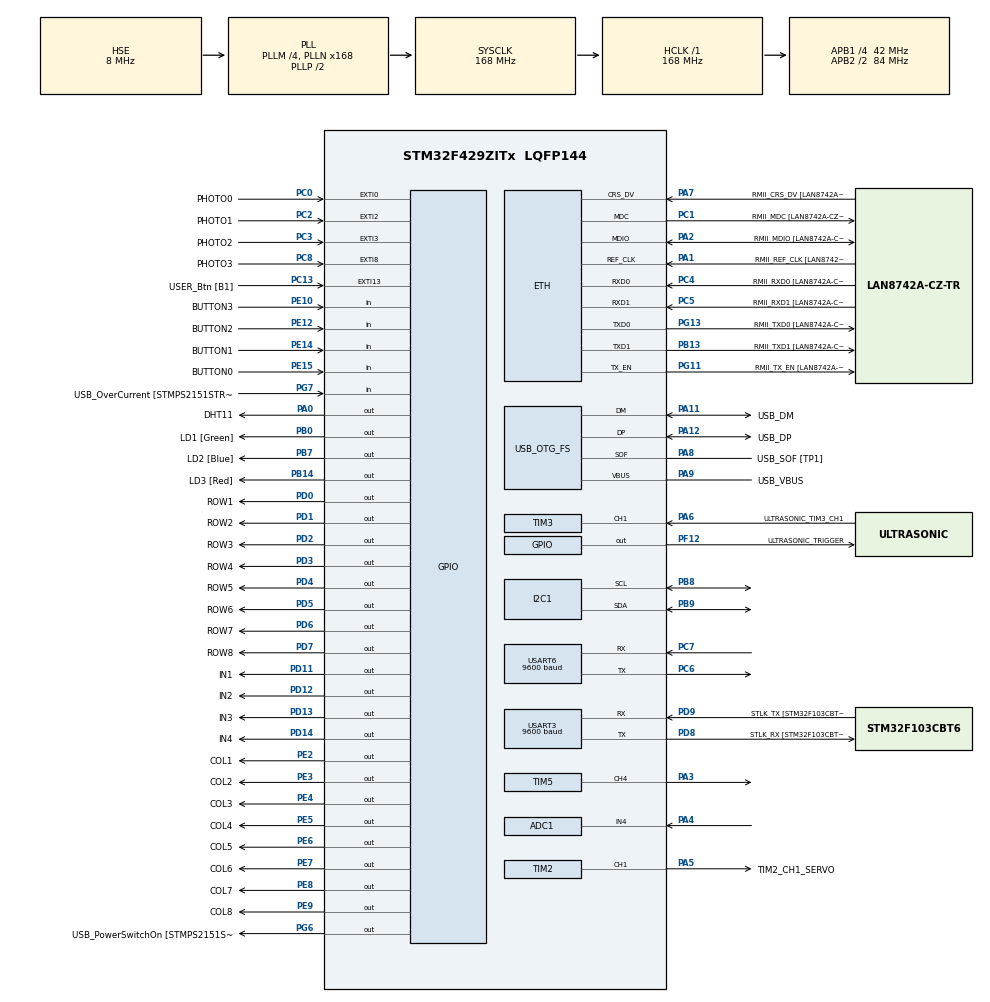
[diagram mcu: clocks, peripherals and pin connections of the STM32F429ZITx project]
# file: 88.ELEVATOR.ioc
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ADC1.Channel-0\#ChannelRegularConversion=ADC_CHANNEL_4
ADC1.ContinuousConvMode=ENABLE
ADC1.NbrOfConversionFlag=1
ADC1.Rank-0\#ChannelRegularConversion=1
ADC1.SamplingTime-0\#ChannelRegularConversion=ADC_SAMPLETIME_480CYCLES
ADC1.master=1
ETH.MediaInterface=HAL_ETH_RMII_MODE
FREERTOS.Mutexes01=myMutex01,Dynamic,NULL
FREERTOS.Tasks01=defaultTask,24,128,StartDefaultTask,Default,NULL,Dynamic,NULL,NULL;Task1,8,128,Task1_func,Default,NULL,Dynamic,NULL,NULL;Task2,8,128,Task2_func,Default,NULL,Dynamic,NULL,NULL;Task3,8,128,Task3_func,Default,NULL,Dynamic,NULL,NULL
FREERTOS.configUSE_NEWLIB_REENTRANT=1
Mcu.Family=STM32F4
Mcu.Name=STM32F429ZITx
Mcu.Package=LQFP144
NVIC.ADC_IRQn=true\:5\:0\:false\:false\:true\:true\:true\:true\:true
NVIC.EXTI0_IRQn=true\:5\:0\:false\:false\:true\:true\:true\:true\:true
NVIC.EXTI2_IRQn=true\:5\:0\:false\:false\:true\:true\:true\:true\:true
NVIC.EXTI3_IRQn=true\:5\:0\:false\:false\:true\:true\:true\:true\:true
NVIC.PriorityGroup=NVIC_PRIORITYGROUP_4
NVIC.TIM1_TRG_COM_TIM11_IRQn=true\:5\:0\:false\:false\:true\:true\:true\:true\:true
NVIC.TIM1_UP_TIM10_IRQn=true\:5\:0\:false\:false\:true\:true\:true\:true\:true
NVIC.TIM2_IRQn=true\:5\:0\:false\:false\:true\:true\:true\:true\:true
NVIC.TIM3_IRQn=true\:5\:0\:false\:false\:true\:true\:true\:true\:true
NVIC.TIM4_IRQn=true\:5\:0\:false\:false\:true\:true\:true\:true\:true
NVIC.TIM5_IRQn=true\:5\:0\:false\:false\:true\:true\:true\:true\:true
NVIC.TIM6_DAC_IRQn=true\:15\:0\:false\:false\:true\:false\:false\:true\:true
NVIC.TimeBase=TIM6_DAC_IRQn
NVIC.TimeBaseIP=TIM6
NVIC.USART3_IRQn=true\:5\:0\:false\:false\:true\:true\:true\:true\:true
NVIC.USART6_IRQn=true\:5\:0\:false\:false\:true\:true\:true\:true\:true
PA0/WKUP.GPIO_Label=DHT11
PA0/WKUP.Signal=GPIO_Output
PA1.GPIO_Label=RMII_REF_CLK [LAN8742A-CZ-TR_REFCLK0]
PA1.Mode=RMII
PA1.Signal=ETH_REF_CLK
PA10.GPIO_Label=USB_ID
PA10.Signal=USB_OTG_FS_ID
PA11.GPIO_Label=USB_DM
PA11.Mode=Device_Only
PA11.Signal=USB_OTG_FS_DM
PA12.GPIO_Label=USB_DP
PA12.Mode=Device_Only
PA12.Signal=USB_OTG_FS_DP
PA13.GPIO_Label=TMS
PA13.Mode=Serial_Wire
PA13.Signal=SYS_JTMS-SWDIO
PA14.GPIO_Label=TCK
PA14.Mode=Serial_Wire
PA14.Signal=SYS_JTCK-SWCLK
PA2.GPIO_Label=RMII_MDIO [LAN8742A-CZ-TR_MDIO]
PA2.Mode=RMII
PA2.Signal=ETH_MDIO
PA3.Signal=S_TIM5_CH4
PA4.Signal=ADCx_IN4
PA5.GPIO_Label=TIM2_CH1_SERVO
PA5.Signal=S_TIM2_CH1_ETR
PA6.GPIO_Label=ULTRASONIC_TIM3_CH1
PA6.Signal=S_TIM3_CH1
PA7.GPIO_Label=RMII_CRS_DV [LAN8742A-CZ-TR_CRS_DV]
PA7.Mode=RMII
PA7.Signal=ETH_CRS_DV
PA8.GPIO_Label=USB_SOF [TP1]
PA8.Mode=Activate_SOF_FS
PA8.Signal=USB_OTG_FS_SOF
PA9.GPIO_Label=USB_VBUS
PA9.Mode=Activate_VBUS
PA9.Signal=USB_OTG_FS_VBUS
PB0.GPIO_Label=LD1 [Green]
PB0.Signal=GPIO_Output
PB13.GPIO_Label=RMII_TXD1 [LAN8742A-CZ-TR_TXD1]
PB13.Mode=RMII
PB13.Signal=ETH_TXD1
PB14.GPIO_Label=LD3 [Red]
PB14.Signal=GPIO_Output
PB7.GPIO_Label=LD2 [Blue]
PB7.Signal=GPIO_Output
PB8.Mode=I2C
PB8.Signal=I2C1_SCL
PB9.Mode=I2C
PB9.Signal=I2C1_SDA
PC0.GPIO_Label=PHOTO0
PC0.Signal=GPXTI0
PC1.GPIO_Label=RMII_MDC [LAN8742A-CZ-TR_MDC]
PC1.Mode=RMII
PC1.Signal=ETH_MDC
PC13.GPIO_Label=USER_Btn [B1]
PC13.Signal=GPXTI13
PC14/OSC32_IN.Mode=LSE-External-Oscillator
PC14/OSC32_IN.Signal=RCC_OSC32_IN
PC15/OSC32_OUT.Mode=LSE-External-Oscillator
PC15/OSC32_OUT.Signal=RCC_OSC32_OUT
PC2.GPIO_Label=PHOTO1
PC2.Signal=GPXTI2
PC3.GPIO_Label=PHOTO2
PC3.Signal=GPXTI3
PC4.GPIO_Label=RMII_RXD0 [LAN8742A-CZ-TR_RXD0]
PC4.Mode=RMII
PC4.Signal=ETH_RXD0
PC5.GPIO_Label=RMII_RXD1 [LAN8742A-CZ-TR_RXD1]
PC5.Mode=RMII
PC5.Signal=ETH_RXD1
PC6.Mode=Asynchronous
PC6.Signal=USART6_TX
PC7.Mode=Asynchronous
PC7.Signal=USART6_RX
PC8.GPIO_Label=PHOTO3
PC8.Signal=GPXTI8
PD0.GPIO_Label=ROW1
PD0.Signal=GPIO_Output
PD1.GPIO_Label=ROW2
PD1.Signal=GPIO_Output
PD11.GPIO_Label=IN1
PD11.Signal=GPIO_Output
PD12.GPIO_Label=IN2
PD12.Signal=GPIO_Output
PD13.GPIO_Label=IN3
PD13.Signal=GPIO_Output
PD14.GPIO_Label=IN4
PD14.Signal=GPIO_Output
PD2.GPIO_Label=ROW3
PD2.Signal=GPIO_Output
PD3.GPIO_Label=ROW4
PD3.Signal=GPIO_Output
PD4.GPIO_Label=ROW5
PD4.Signal=GPIO_Output
PD5.GPIO_Label=ROW6
PD5.Signal=GPIO_Output
PD6.GPIO_Label=ROW7
PD6.Signal=GPIO_Output
PD7.GPIO_Label=ROW8
PD7.Signal=GPIO_Output
PD8.GPIO_Label=STLK_RX [STM32F103CBT6_PA3]
PD8.Mode=Asynchronous
PD8.Signal=USART3_TX
PD9.GPIO_Label=STLK_TX [STM32F103CBT6_PA2]
PD9.Mode=Asynchronous
PD9.Signal=USART3_RX
PE10.GPIO_Label=BUTTON3
PE10.Signal=GPIO_Input
PE12.GPIO_Label=BUTTON2
PE12.Signal=GPIO_Input
PE14.GPIO_Label=BUTTON1
PE14.Signal=GPIO_Input
PE15.GPIO_Label=BUTTON0
PE15.Signal=GPIO_Input
PE2.GPIO_Label=COL1
PE2.Signal=GPIO_Output
PE3.GPIO_Label=COL2
PE3.Signal=GPIO_Output
PE4.GPIO_Label=COL3
PE4.Signal=GPIO_Output
PE5.GPIO_Label=COL4
PE5.Signal=GPIO_Output
PE6.GPIO_Label=COL5
PE6.Signal=GPIO_Output
PE7.GPIO_Label=COL6
PE7.Signal=GPIO_Output
PE8.GPIO_Label=COL7
PE8.Signal=GPIO_Output
PE9.GPIO_Label=COL8
PE9.Signal=GPIO_Output
PF12.GPIO_Label=ULTRASONIC_TRIGGER
PF12.Signal=GPIO_Output
PG11.GPIO_Label=RMII_TX_EN [LAN8742A-CZ-TR_TXEN]
PG11.Mode=RMII
PG11.Signal=ETH_TX_EN
PG13.GPIO_Label=RMII_TXD0 [LAN8742A-CZ-TR_TXD0]
PG13.Mode=RMII
PG13.Signal=ETH_TXD0
PG6.GPIO_Label=USB_PowerSwitchOn [STMPS2151STR_EN]
PG6.Signal=GPIO_Output
PG7.GPIO_Label=USB_OverCurrent [STMPS2151STR_FAULT]
PG7.Signal=GPIO_Input
PH0/OSC_IN.GPIO_Label=MCO [STM32F103CBT6_PA8]
PH0/OSC_IN.Mode=HSE-External-Clock-Source
PH0/OSC_IN.Signal=RCC_OSC_IN
PH1/OSC_OUT.Mode=HSE-External-Clock-Source
PH1/OSC_OUT.Signal=RCC_OSC_OUT
ProjectManager.HeapSize=0x200
ProjectManager.StackSize=0x400
ProjectManager.TargetToolchain=STM32CubeIDE
RCC.48MHZClocksFreq_Value=48000000
RCC.AHBFreq_Value=168000000
RCC.APB1CLKDivider=RCC_HCLK_DIV4
RCC.APB1Freq_Value=42000000
RCC.APB1TimFreq_Value=84000000
RCC.APB2CLKDivider=RCC_HCLK_DIV2
RCC.APB2Freq_Value=84000000
RCC.APB2TimCLKDivider=2
RCC.APB2TimFreq_Value=168000000
RCC.CortexFreq_Value=168000000
RCC.HCLKFreq_Value=168000000
RCC.HSE_VALUE=8000000
RCC.HSI_VALUE=16000000
RCC.PLLM=4
RCC.PLLMUL=RCC_PLL_MUL9
RCC.PLLN=168
RCC.PLLQ=7
RCC.PRESCALERUSB=RCC_USBCLKSOURCE_PLL_DIV1_5
RCC.SYSCLKFreq_VALUE=168000000
RCC.SYSCLKSource=RCC_SYSCLKSOURCE_PLLCLK
RCC.SYSCLKSourceVirtual=RCC_SYSCLKSOURCE_PLLCLK
RCC.USBFreq_Value=48000000
RCC.VCOOutputFreq_Value=336000000
RTC.Date=16
RTC.Hours=9
RTC.Minutes=38
RTC.Month=RTC_MONTH_OCTOBER
RTC.Year=23
SH.ADCx_IN4.0=ADC1_IN4,IN4
SH.S_TIM2_CH1_ETR.0=TIM2_CH1,PWM Generation1 CH1
SH.S_TIM3_CH1.0=TIM3_CH1,Input_Capture1_from_TI1
SH.S_TIM5_CH4.0=TIM5_CH4,PWM Generation4 CH4
TIM10.Period=10000-1
TIM10.Prescaler=168-1
TIM11.Prescaler=168-1
TIM2.Channel-PWM\ Generation1\ CH1=TIM_CHANNEL_1
TIM2.Period=1000-1
TIM2.Prescaler=1680-1
TIM2.Pulse-PWM\ Generation1\ CH1=500-1
TIM3.Channel-Input_Capture1_from_TI1=TIM_CHANNEL_1
TIM3.ICPolarity_CH1=TIM_INPUTCHANNELPOLARITY_BOTHEDGE
TIM3.Prescaler=84-1
TIM4.Period=100-1
TIM4.Prescaler=840-1
TIM5.Channel-PWM\ Generation4\ CH4=TIM_CHANNEL_4
TIM5.Period=400-1
TIM5.Prescaler=52.5-1
TIM5.Pulse-PWM\ Generation4\ CH4=200-1
USART3.BaudRate=9600
USART3.VirtualMode=VM_ASYNC
USART6.BaudRate=9600
USART6.VirtualMode=VM_ASYNC
USB_OTG_FS.VirtualMode=Device_Only
VP_FREERTOS_VS_CMSIS_V2.Mode=CMSIS_V2
VP_RTC_VS_RTC_Activate.Mode=RTC_Enabled
VP_RTC_VS_RTC_Calendar.Mode=RTC_Calendar
VP_SYS_VS_tim6.Mode=TIM6
VP_TIM10_VS_ClockSourceINT.Mode=Enable_Timer
VP_TIM11_VS_ClockSourceINT.Mode=Enable_Timer
VP_TIM4_VS_ClockSourceINT.Mode=Internal
VP_TIM5_VS_ClockSourceINT.Mode=Internal
board=NUCLEO-F429ZI

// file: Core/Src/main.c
/* USER CODE BEGIN Header */
/**
  ******************************************************************************
  * @file           : main.c
  * @brief          : Main program body
  ******************************************************************************
  * @attention
  *
  * Copyright (c) 2023 STMicroelectronics.
  * All rights reserved.
  *
  * This software is licensed under terms that can be found in the LICENSE file
  * in the root directory of this software component.
  * If no LICENSE file comes with this software, it is provided AS-IS.
  *
  ******************************************************************************
  */
/* USER CODE END Header */
#include "main.h"
#include "string.h"
#include "cmsis_os.h"

ETH_TxPacketConfig TxConfig;
ETH_DMADescTypeDef  DMARxDscrTab[ETH_RX_DESC_CNT]; /* Ethernet Rx DMA Descriptors */
ETH_DMADescTypeDef  DMATxDscrTab[ETH_TX_DESC_CNT]; /* Ethernet Tx DMA Descriptors */

ADC_HandleTypeDef hadc1;

ETH_HandleTypeDef heth;

I2C_HandleTypeDef hi2c1;

RTC_HandleTypeDef hrtc;

TIM_HandleTypeDef htim2;
TIM_HandleTypeDef htim3;
TIM_HandleTypeDef htim4;
TIM_HandleTypeDef htim5;
TIM_HandleTypeDef htim10;
TIM_HandleTypeDef htim11;

UART_HandleTypeDef huart3;
UART_HandleTypeDef huart6;

PCD_HandleTypeDef hpcd_USB_OTG_FS;

/* Definitions for defaultTask */
osThreadId_t defaultTaskHandle;
const osThreadAttr_t defaultTask_attributes = {
  .name = "defaultTask",
  .stack_size = 128 * 4,
  .priority = (osPriority_t) osPriorityNormal,
};
/* Definitions for Task1 */
osThreadId_t Task1Handle;
const osThreadAttr_t Task1_attributes = {
  .name = "Task1",
  .stack_size = 128 * 4,
  .priority = (osPriority_t) osPriorityLow,
};
/* Definitions for Task2 */
osThreadId_t Task2Handle;
const osThreadAttr_t Task2_attributes = {
  .name = "Task2",
  .stack_size = 128 * 4,
  .priority = (osPriority_t) osPriorityLow,
};
/* Definitions for Task3 */
osThreadId_t Task3Handle;
const osThreadAttr_t Task3_attributes = {
  .name = "Task3",
  .stack_size = 128 * 4,
  .priority = (osPriority_t) osPriorityLow,
};
/* Definitions for myMutex01 */
osMutexId_t myMutex01Handle;
const osMutexAttr_t myMutex01_attributes = {
  .name = "myMutex01"
};
/* USER CODE BEGIN PV */
uint8_t rx_data;   // uart3 rx data
uint8_t bt_rx_data;   // uart6 bt rx data
volatile int TIM10_10ms_counter=0;
volatile int TIM10_10ms_ultrasonic=0;
/* USER CODE END PV */

void SystemClock_Config(void);
static void MX_GPIO_Init(void);
static void MX_USART3_UART_Init(void);
static void MX_USB_OTG_FS_PCD_Init(void);
static void MX_USART6_UART_Init(void);
static void MX_TIM10_Init(void);
static void MX_TIM11_Init(void);
static void MX_TIM3_Init(void);
static void MX_TIM4_Init(void);
static void MX_TIM2_Init(void);
static void MX_RTC_Init(void);
static void MX_TIM5_Init(void);
static void MX_I2C1_Init(void);
static void MX_ADC1_Init(void);
static void MX_ETH_Init(void);
void StartDefaultTask(void *argument);
void Task1_func(void *argument);
void Task2_func(void *argument);
void Task3_func(void *argument);

/* USER CODE BEGIN PFP */
extern void led_main(void);
extern void pc_command_processing(void);
extern void bt_command_processing(void);
extern void DHT11_main(void);
extern void DHT11_Init(void);
extern void DHT11_processing(void);
extern void ultrasonic_processing(void);
extern void i2c_lcd_main(void);
extern void i2c_lcd_init(void);
extern void lcd_string(uint8_t *str);
extern void move_cursor(uint8_t row, uint8_t column);
extern void dcmotor_pwm_control(void);
extern void servo_motor_test_main(void);
extern void get_rtc(void);
extern void lcd_display_mode_select(void);
extern void set_time_button_ui(void);
extern void buzzer_main();
extern void init_dotmatrix(void);
extern int dotmatrix_main_test(void);
extern void stepmotor_main_test(void);

extern int current_floor;

void delay_us(unsigned long us);
/* USER CODE END PFP */

/* USER CODE BEGIN 0 */
//---------------
// call by SysTick_Handler of stm32f4xx_it.c
// ARM default timer
// enter here every 1ms
volatile int t1ms_counter=0;  // volatile : for disable optimize
void HAL_SYSTICK_Handler(void)
{
	t1ms_counter++;   // 1ms timer
}
//----------  printf start ----------
#ifdef __GNUC__
/* With GCC, small printf (option LD Linker->Libraries->Small printf
   set to 'Yes') calls __io_putchar() */
#define PUTCHAR_PROTOTYPE int __io_putchar(int ch)
#else
#define PUTCHAR_PROTOTYPE int fputc(int ch, FILE *f)
#endif /* __GNUC_ */
/**
  * @brief  Retargets the C library printf function to the USART.
  * @param  None
  * @retval None
  */
PUTCHAR_PROTOTYPE   // Add for printf
{
  /* Place your implementation of fputc here */
  /* e.g. write a character to the USART3 and Loop until the end of transmission */
  HAL_UART_Transmit(&huart3, (uint8_t *)&ch, 1, 0xFFFF);

  return ch;
}
//----------  printf end ----------

// move from Driver/STM32F4xx_HAL_Driver/stm32f4xx_hal_tim.c to here
// enter here when every timer INT occurs

/*
void HAL_TIM_PeriodElapsedCallback(TIM_HandleTypeDef *htim)
{

}
*/

void delay_us(unsigned long us)
{
	__HAL_TIM_SET_COUNTER(&htim11,0);   // tim11 clear
	while(__HAL_TIM_GET_COUNTER(&htim11) < us)
		;
}

// 1. move from Driver/STM32F4xx_HAL_Driver/Src/stm32f4xx_hal_gpio.c/HAL_GPIO_EXTI_Callback(uint16_t):void
// 2. enter here every external interrupt
volatile int ext_int_no = -1;
void HAL_GPIO_EXTI_Callback(uint16_t GPIO_Pin)
{
  switch(GPIO_Pin)
  {
  case PHOTO0_Pin:
	  ext_int_no=GPIO_Pin;
	  HAL_GPIO_TogglePin(GPIOB, GPIO_PIN_0);   // LED1
 	  current_floor = 1;
	  break;
  case PHOTO1_Pin:
	  ext_int_no=GPIO_Pin;
	  HAL_GPIO_TogglePin(GPIOB, GPIO_PIN_7);   // LED2
	  current_floor = 2;
	  break;
  case PHOTO2_Pin:
	  ext_int_no=GPIO_Pin;
	  HAL_GPIO_TogglePin(GPIOB, GPIO_PIN_14);   // LED3
	  current_floor = 3;
	  break;
  case PHOTO3_Pin:
	  ext_int_no=GPIO_Pin;
	  HAL_GPIO_TogglePin(GPIOB, GPIO_PIN_0);
	  current_floor = 4;
	  break;
  }
}

uint16_t adcValue[4];
void HAL_ADC_ConvCpltCallback(ADC_HandleTypeDef* hadc)
{
	if (hadc->Instance == ADC1)    // ?��?�� 쪽의 ?��?��?��?��?���???�??? 체크
	{
		adcValue[0] = HAL_ADC_GetValue(&hadc1);
		HAL_ADC_Start_IT(&hadc1);
	}
}

/* USER CODE END 0 */

int main(void)
{

  /* MCU Configuration--------------------------------------------------------*/

  /* Reset of all peripherals, Initializes the Flash interface and the Systick. */
  HAL_Init();

  /* Configure the system clock */
  SystemClock_Config();

  /* Initialize all configured peripherals */
  MX_GPIO_Init();
  MX_USART3_UART_Init();
  MX_USB_OTG_FS_PCD_Init();
  MX_USART6_UART_Init();
  MX_TIM10_Init();
  MX_TIM11_Init();
  MX_TIM3_Init();
  MX_TIM4_Init();
  MX_TIM2_Init();
  MX_RTC_Init();
  MX_TIM5_Init();
  MX_I2C1_Init();
  MX_ADC1_Init();
  MX_ETH_Init();
  /* USER CODE BEGIN 2 */
  HAL_UART_Receive_IT(&huart3, &rx_data, 1);   // assing to RX INT
  HAL_UART_Receive_IT(&huart6, &bt_rx_data, 1);   // for BT assing to RX INT
  HAL_TIM_Base_Start_IT(&htim10);   // ADD_SIKWON_1011
  HAL_TIM_Base_Start_IT(&htim11);   // ADD_SIKWON_1011
  HAL_TIM_IC_Start_IT(&htim3, TIM_CHANNEL_1);   // for count pulse(rising edge & falling edge)
  HAL_TIM_PWM_Start_IT(&htim4, TIM_CHANNEL_1);  // for DC motor PWM control
  HAL_TIM_PWM_Start(&htim2, TIM_CHANNEL_1);   // for SERVO motor PWM control
  HAL_TIM_PWM_Start(&htim5, TIM_CHANNEL_4);   // PIEZO Buzzer

  HAL_ADC_Start_IT(&hadc1);
//  DHT11_Init();

//  i2c_lcd_init();    // lcd 모듈?�� ?��결된 ?��?��?��?�� ?��?�� ?��?��.

  init_dotmatrix();

  TIM10_10ms_counter=0;

// stepmotor_main_test();
// dotmatrix_main_test();
// led_main();			//REMOVE//
//  DHT11_main();
//  i2c_lcd_main();
//  servo_motor_test_main();
//    buzzer_main();

  /* USER CODE END 2 */

  /* Init scheduler */
  osKernelInitialize();
  /* Create the mutex(es) */
  /* creation of myMutex01 */
  myMutex01Handle = osMutexNew(&myMutex01_attributes);

  /* Create the thread(s) */
  /* creation of defaultTask */
  defaultTaskHandle = osThreadNew(StartDefaultTask, NULL, &defaultTask_attributes);

  /* creation of Task1 */
  Task1Handle = osThreadNew(Task1_func, NULL, &Task1_attributes);

  /* creation of Task2 */
  Task2Handle = osThreadNew(Task2_func, NULL, &Task2_attributes);

  /* creation of Task3 */
  Task3Handle = osThreadNew(Task3_func, NULL, &Task3_attributes);

  /* Start scheduler */
  osKernelStart();
  /* We should never get here as control is now taken by the scheduler */
  /* Infinite loop */
  /* USER CODE BEGIN WHILE */
  while (1)
  {
	  // test sensor
//	  printf("cds sensor: %d\n", adcValue[0]);
//	  HAL_Delay(10);
/*
	DHT11_processing();
 	pc_command_processing();
 	bt_command_processing();
 	ultrasonic_processing();
 	dcmotor_pwm_control();
 	get_rtc();
 	lcd_display_mode_select();
 	set_time_button_ui();
*/
    /* USER CODE END WHILE */

  }
}

void SystemClock_Config(void)
{
  RCC_OscInitTypeDef RCC_OscInitStruct = {0};
  RCC_ClkInitTypeDef RCC_ClkInitStruct = {0};

  /** Configure the main internal regulator output voltage
  */
  __HAL_RCC_PWR_CLK_ENABLE();
  __HAL_PWR_VOLTAGESCALING_CONFIG(PWR_REGULATOR_VOLTAGE_SCALE1);

  /** Initializes the RCC Oscillators according to the specified parameters
  * in the RCC_OscInitTypeDef structure.
  */
  RCC_OscInitStruct.OscillatorType = RCC_OSCILLATORTYPE_LSI|RCC_OSCILLATORTYPE_HSE;
  RCC_OscInitStruct.HSEState = RCC_HSE_BYPASS;
  RCC_OscInitStruct.LSIState = RCC_LSI_ON;
  RCC_OscInitStruct.PLL.PLLState = RCC_PLL_ON;
  RCC_OscInitStruct.PLL.PLLSource = RCC_PLLSOURCE_HSE;
  RCC_OscInitStruct.PLL.PLLM = 4;
  RCC_OscInitStruct.PLL.PLLN = 168;
  RCC_OscInitStruct.PLL.PLLP = RCC_PLLP_DIV2;
  RCC_OscInitStruct.PLL.PLLQ = 7;
  if (HAL_RCC_OscConfig(&RCC_OscInitStruct) != HAL_OK)
  {
    Error_Handler();
  }

  /** Initializes the CPU, AHB and APB buses clocks
  */
  RCC_ClkInitStruct.ClockType = RCC_CLOCKTYPE_HCLK|RCC_CLOCKTYPE_SYSCLK
                              |RCC_CLOCKTYPE_PCLK1|RCC_CLOCKTYPE_PCLK2;
  RCC_ClkInitStruct.SYSCLKSource = RCC_SYSCLKSOURCE_PLLCLK;
  RCC_ClkInitStruct.AHBCLKDivider = RCC_SYSCLK_DIV1;
  RCC_ClkInitStruct.APB1CLKDivider = RCC_HCLK_DIV4;
  RCC_ClkInitStruct.APB2CLKDivider = RCC_HCLK_DIV2;

  if (HAL_RCC_ClockConfig(&RCC_ClkInitStruct, FLASH_LATENCY_5) != HAL_OK)
  {
    Error_Handler();
  }
}

static void MX_ADC1_Init(void)
{

  ADC_ChannelConfTypeDef sConfig = {0};

  /** Configure the global features of the ADC (Clock, Resolution, Data Alignment and number of conversion)
  */
  hadc1.Instance = ADC1;
  hadc1.Init.ClockPrescaler = ADC_CLOCK_SYNC_PCLK_DIV4;
  hadc1.Init.Resolution = ADC_RESOLUTION_12B;
  hadc1.Init.ScanConvMode = DISABLE;
  hadc1.Init.ContinuousConvMode = ENABLE;
  hadc1.Init.DiscontinuousConvMode = DISABLE;
  hadc1.Init.ExternalTrigConvEdge = ADC_EXTERNALTRIGCONVEDGE_NONE;
  hadc1.Init.ExternalTrigConv = ADC_SOFTWARE_START;
  hadc1.Init.DataAlign = ADC_DATAALIGN_RIGHT;
  hadc1.Init.NbrOfConversion = 1;
  hadc1.Init.DMAContinuousRequests = DISABLE;
  hadc1.Init.EOCSelection = ADC_EOC_SINGLE_CONV;
  if (HAL_ADC_Init(&hadc1) != HAL_OK)
  {
    Error_Handler();
  }

  /** Configure for the selected ADC regular channel its corresponding rank in the sequencer and its sample time.
  */
  sConfig.Channel = ADC_CHANNEL_4;
  sConfig.Rank = 1;
  sConfig.SamplingTime = ADC_SAMPLETIME_480CYCLES;
  if (HAL_ADC_ConfigChannel(&hadc1, &sConfig) != HAL_OK)
  {
    Error_Handler();
  }

}

static void MX_ETH_Init(void)
{

   static uint8_t MACAddr[6];

  heth.Instance = ETH;
  MACAddr[0] = 0x00;
  MACAddr[1] = 0x80;
  MACAddr[2] = 0xE1;
  MACAddr[3] = 0x00;
  MACAddr[4] = 0x00;
  MACAddr[5] = 0x00;
  heth.Init.MACAddr = &MACAddr[0];
  heth.Init.MediaInterface = HAL_ETH_RMII_MODE;
  heth.Init.TxDesc = DMATxDscrTab;
  heth.Init.RxDesc = DMARxDscrTab;
  heth.Init.RxBuffLen = 1524;

  if (HAL_ETH_Init(&heth) != HAL_OK)
  {
    Error_Handler();
  }

  memset(&TxConfig, 0 , sizeof(ETH_TxPacketConfig));
  TxConfig.Attributes = ETH_TX_PACKETS_FEATURES_CSUM | ETH_TX_PACKETS_FEATURES_CRCPAD;
  TxConfig.ChecksumCtrl = ETH_CHECKSUM_IPHDR_PAYLOAD_INSERT_PHDR_CALC;
  TxConfig.CRCPadCtrl = ETH_CRC_PAD_INSERT;

}

static void MX_I2C1_Init(void)
{

  hi2c1.Instance = I2C1;
  hi2c1.Init.ClockSpeed = 100000;
  hi2c1.Init.DutyCycle = I2C_DUTYCYCLE_2;
  hi2c1.Init.OwnAddress1 = 0;
  hi2c1.Init.AddressingMode = I2C_ADDRESSINGMODE_7BIT;
  hi2c1.Init.DualAddressMode = I2C_DUALADDRESS_DISABLE;
  hi2c1.Init.OwnAddress2 = 0;
  hi2c1.Init.GeneralCallMode = I2C_GENERALCALL_DISABLE;
  hi2c1.Init.NoStretchMode = I2C_NOSTRETCH_DISABLE;
  if (HAL_I2C_Init(&hi2c1) != HAL_OK)
  {
    Error_Handler();
  }

  /** Configure Analogue filter
  */
  if (HAL_I2CEx_ConfigAnalogFilter(&hi2c1, I2C_ANALOGFILTER_ENABLE) != HAL_OK)
  {
    Error_Handler();
  }

  /** Configure Digital filter
  */
  if (HAL_I2CEx_ConfigDigitalFilter(&hi2c1, 0) != HAL_OK)
  {
    Error_Handler();
  }

}

static void MX_RTC_Init(void)
{

  RTC_TimeTypeDef sTime = {0};
  RTC_DateTypeDef sDate = {0};

  /** Initialize RTC Only
  */
  hrtc.Instance = RTC;
  hrtc.Init.HourFormat = RTC_HOURFORMAT_24;
  hrtc.Init.AsynchPrediv = 127;
  hrtc.Init.SynchPrediv = 255;
  hrtc.Init.OutPut = RTC_OUTPUT_DISABLE;
  hrtc.Init.OutPutPolarity = RTC_OUTPUT_POLARITY_HIGH;
  hrtc.Init.OutPutType = RTC_OUTPUT_TYPE_OPENDRAIN;
  if (HAL_RTC_Init(&hrtc) != HAL_OK)
  {
    Error_Handler();
  }

  /** Initialize RTC and set the Time and Date
  */
  sTime.Hours = 0x9;
  sTime.Minutes = 0x38;
  sTime.Seconds = 0x0;
  sTime.DayLightSaving = RTC_DAYLIGHTSAVING_NONE;
  sTime.StoreOperation = RTC_STOREOPERATION_RESET;
  if (HAL_RTC_SetTime(&hrtc, &sTime, RTC_FORMAT_BCD) != HAL_OK)
  {
    Error_Handler();
  }
  sDate.WeekDay = RTC_WEEKDAY_MONDAY;
  sDate.Month = RTC_MONTH_OCTOBER;
  sDate.Date = 0x16;
  sDate.Year = 0x23;

  if (HAL_RTC_SetDate(&hrtc, &sDate, RTC_FORMAT_BCD) != HAL_OK)
  {
    Error_Handler();
  }

}

static void MX_TIM2_Init(void)
{

  TIM_MasterConfigTypeDef sMasterConfig = {0};
  TIM_OC_InitTypeDef sConfigOC = {0};

  htim2.Instance = TIM2;
  htim2.Init.Prescaler = 1680-1;
  htim2.Init.CounterMode = TIM_COUNTERMODE_UP;
  htim2.Init.Period = 1000-1;
  htim2.Init.ClockDivision = TIM_CLOCKDIVISION_DIV1;
  htim2.Init.AutoReloadPreload = TIM_AUTORELOAD_PRELOAD_DISABLE;
  if (HAL_TIM_PWM_Init(&htim2) != HAL_OK)
  {
    Error_Handler();
  }
  sMasterConfig.MasterOutputTrigger = TIM_TRGO_RESET;
  sMasterConfig.MasterSlaveMode = TIM_MASTERSLAVEMODE_DISABLE;
  if (HAL_TIMEx_MasterConfigSynchronization(&htim2, &sMasterConfig) != HAL_OK)
  {
    Error_Handler();
  }
  sConfigOC.OCMode = TIM_OCMODE_PWM1;
  sConfigOC.Pulse = 500-1;
  sConfigOC.OCPolarity = TIM_OCPOLARITY_HIGH;
  sConfigOC.OCFastMode = TIM_OCFAST_DISABLE;
  if (HAL_TIM_PWM_ConfigChannel(&htim2, &sConfigOC, TIM_CHANNEL_1) != HAL_OK)
  {
    Error_Handler();
  }
  HAL_TIM_MspPostInit(&htim2);

}

static void MX_TIM3_Init(void)
{

  TIM_MasterConfigTypeDef sMasterConfig = {0};
  TIM_IC_InitTypeDef sConfigIC = {0};

  htim3.Instance = TIM3;
  htim3.Init.Prescaler = 84-1;
  htim3.Init.CounterMode = TIM_COUNTERMODE_UP;
  htim3.Init.Period = 65535;
  htim3.Init.ClockDivision = TIM_CLOCKDIVISION_DIV1;
  htim3.Init.AutoReloadPreload = TIM_AUTORELOAD_PRELOAD_DISABLE;
  if (HAL_TIM_IC_Init(&htim3) != HAL_OK)
  {
    Error_Handler();
  }
  sMasterConfig.MasterOutputTrigger = TIM_TRGO_RESET;
  sMasterConfig.MasterSlaveMode = TIM_MASTERSLAVEMODE_DISABLE;
  if (HAL_TIMEx_MasterConfigSynchronization(&htim3, &sMasterConfig) != HAL_OK)
  {
    Error_Handler();
  }
  sConfigIC.ICPolarity = TIM_INPUTCHANNELPOLARITY_BOTHEDGE;
  sConfigIC.ICSelection = TIM_ICSELECTION_DIRECTTI;
  sConfigIC.ICPrescaler = TIM_ICPSC_DIV1;
  sConfigIC.ICFilter = 0;
  if (HAL_TIM_IC_ConfigChannel(&htim3, &sConfigIC, TIM_CHANNEL_1) != HAL_OK)
  {
    Error_Handler();
  }

}

static void MX_TIM4_Init(void)
{

  TIM_ClockConfigTypeDef sClockSourceConfig = {0};
  TIM_MasterConfigTypeDef sMasterConfig = {0};

  htim4.Instance = TIM4;
  htim4.Init.Prescaler = 840-1;
  htim4.Init.CounterMode = TIM_COUNTERMODE_UP;
  htim4.Init.Period = 100-1;
  htim4.Init.ClockDivision = TIM_CLOCKDIVISION_DIV1;
  htim4.Init.AutoReloadPreload = TIM_AUTORELOAD_PRELOAD_DISABLE;
  if (HAL_TIM_Base_Init(&htim4) != HAL_OK)
  {
    Error_Handler();
  }
  sClockSourceConfig.ClockSource = TIM_CLOCKSOURCE_INTERNAL;
  if (HAL_TIM_ConfigClockSource(&htim4, &sClockSourceConfig) != HAL_OK)
  {
    Error_Handler();
  }
  sMasterConfig.MasterOutputTrigger = TIM_TRGO_RESET;
  sMasterConfig.MasterSlaveMode = TIM_MASTERSLAVEMODE_DISABLE;
  if (HAL_TIMEx_MasterConfigSynchronization(&htim4, &sMasterConfig) != HAL_OK)
  {
    Error_Handler();
  }

}

static void MX_TIM5_Init(void)
{

  TIM_ClockConfigTypeDef sClockSourceConfig = {0};
  TIM_MasterConfigTypeDef sMasterConfig = {0};
  TIM_OC_InitTypeDef sConfigOC = {0};

  htim5.Instance = TIM5;
  htim5.Init.Prescaler = 52.5-1;
  htim5.Init.CounterMode = TIM_COUNTERMODE_UP;
  htim5.Init.Period = 400-1;
  htim5.Init.ClockDivision = TIM_CLOCKDIVISION_DIV1;
  htim5.Init.AutoReloadPreload = TIM_AUTORELOAD_PRELOAD_DISABLE;
  if (HAL_TIM_Base_Init(&htim5) != HAL_OK)
  {
    Error_Handler();
  }
  sClockSourceConfig.ClockSource = TIM_CLOCKSOURCE_INTERNAL;
  if (HAL_TIM_ConfigClockSource(&htim5, &sClockSourceConfig) != HAL_OK)
  {
    Error_Handler();
  }
  if (HAL_TIM_PWM_Init(&htim5) != HAL_OK)
  {
    Error_Handler();
  }
  sMasterConfig.MasterOutputTrigger = TIM_TRGO_RESET;
  sMasterConfig.MasterSlaveMode = TIM_MASTERSLAVEMODE_DISABLE;
  if (HAL_TIMEx_MasterConfigSynchronization(&htim5, &sMasterConfig) != HAL_OK)
  {
    Error_Handler();
  }
  sConfigOC.OCMode = TIM_OCMODE_PWM1;
  sConfigOC.Pulse = 200-1;
  sConfigOC.OCPolarity = TIM_OCPOLARITY_HIGH;
  sConfigOC.OCFastMode = TIM_OCFAST_DISABLE;
  if (HAL_TIM_PWM_ConfigChannel(&htim5, &sConfigOC, TIM_CHANNEL_4) != HAL_OK)
  {
    Error_Handler();
  }
  HAL_TIM_MspPostInit(&htim5);

}

static void MX_TIM10_Init(void)
{

  htim10.Instance = TIM10;
  htim10.Init.Prescaler = 168-1;
  htim10.Init.CounterMode = TIM_COUNTERMODE_UP;
  htim10.Init.Period = 10000-1;
  htim10.Init.ClockDivision = TIM_CLOCKDIVISION_DIV1;
  htim10.Init.AutoReloadPreload = TIM_AUTORELOAD_PRELOAD_DISABLE;
  if (HAL_TIM_Base_Init(&htim10) != HAL_OK)
  {
    Error_Handler();
  }

}

static void MX_TIM11_Init(void)
{

  htim11.Instance = TIM11;
  htim11.Init.Prescaler = 168-1;
  htim11.Init.CounterMode = TIM_COUNTERMODE_UP;
  htim11.Init.Period = 65535;
  htim11.Init.ClockDivision = TIM_CLOCKDIVISION_DIV1;
  htim11.Init.AutoReloadPreload = TIM_AUTORELOAD_PRELOAD_DISABLE;
  if (HAL_TIM_Base_Init(&htim11) != HAL_OK)
  {
    Error_Handler();
  }

}

static void MX_USART3_UART_Init(void)
{

  huart3.Instance = USART3;
  huart3.Init.BaudRate = 9600;
  huart3.Init.WordLength = UART_WORDLENGTH_8B;
  huart3.Init.StopBits = UART_STOPBITS_1;
  huart3.Init.Parity = UART_PARITY_NONE;
  huart3.Init.Mode = UART_MODE_TX_RX;
  huart3.Init.HwFlowCtl = UART_HWCONTROL_NONE;
  huart3.Init.OverSampling = UART_OVERSAMPLING_16;
  if (HAL_UART_Init(&huart3) != HAL_OK)
  {
    Error_Handler();
  }

}

static void MX_USART6_UART_Init(void)
{

  huart6.Instance = USART6;
  huart6.Init.BaudRate = 9600;
  huart6.Init.WordLength = UART_WORDLENGTH_8B;
  huart6.Init.StopBits = UART_STOPBITS_1;
  huart6.Init.Parity = UART_PARITY_NONE;
  huart6.Init.Mode = UART_MODE_TX_RX;
  huart6.Init.HwFlowCtl = UART_HWCONTROL_NONE;
  huart6.Init.OverSampling = UART_OVERSAMPLING_16;
  if (HAL_UART_Init(&huart6) != HAL_OK)
  {
    Error_Handler();
  }

}

static void MX_USB_OTG_FS_PCD_Init(void)
{

  hpcd_USB_OTG_FS.Instance = USB_OTG_FS;
  hpcd_USB_OTG_FS.Init.dev_endpoints = 4;
  hpcd_USB_OTG_FS.Init.speed = PCD_SPEED_FULL;
  hpcd_USB_OTG_FS.Init.dma_enable = DISABLE;
  hpcd_USB_OTG_FS.Init.phy_itface = PCD_PHY_EMBEDDED;
  hpcd_USB_OTG_FS.Init.Sof_enable = ENABLE;
  hpcd_USB_OTG_FS.Init.low_power_enable = DISABLE;
  hpcd_USB_OTG_FS.Init.lpm_enable = DISABLE;
  hpcd_USB_OTG_FS.Init.vbus_sensing_enable = ENABLE;
  hpcd_USB_OTG_FS.Init.use_dedicated_ep1 = DISABLE;
  if (HAL_PCD_Init(&hpcd_USB_OTG_FS) != HAL_OK)
  {
    Error_Handler();
  }

}

static void MX_GPIO_Init(void)
{
  GPIO_InitTypeDef GPIO_InitStruct = {0};

  /* GPIO Ports Clock Enable */
  __HAL_RCC_GPIOE_CLK_ENABLE();
  __HAL_RCC_GPIOC_CLK_ENABLE();
  __HAL_RCC_GPIOH_CLK_ENABLE();
  __HAL_RCC_GPIOA_CLK_ENABLE();
  __HAL_RCC_GPIOB_CLK_ENABLE();
  __HAL_RCC_GPIOF_CLK_ENABLE();
  __HAL_RCC_GPIOD_CLK_ENABLE();
  __HAL_RCC_GPIOG_CLK_ENABLE();

  /*Configure GPIO pin Output Level */
  HAL_GPIO_WritePin(GPIOE, COL1_Pin|COL2_Pin|COL3_Pin|COL4_Pin
                          |COL5_Pin|COL6_Pin|COL7_Pin|COL8_Pin, GPIO_PIN_RESET);

  /*Configure GPIO pin Output Level */
  HAL_GPIO_WritePin(DHT11_GPIO_Port, DHT11_Pin, GPIO_PIN_RESET);

  /*Configure GPIO pin Output Level */
  HAL_GPIO_WritePin(GPIOB, LD1_Pin|LD3_Pin|LD2_Pin, GPIO_PIN_RESET);

  /*Configure GPIO pin Output Level */
  HAL_GPIO_WritePin(ULTRASONIC_TRIGGER_GPIO_Port, ULTRASONIC_TRIGGER_Pin, GPIO_PIN_RESET);

  /*Configure GPIO pin Output Level */
  HAL_GPIO_WritePin(GPIOD, IN1_Pin|IN2_Pin|IN3_Pin|IN4_Pin
                          |ROW1_Pin|ROW2_Pin|ROW3_Pin|ROW4_Pin
                          |ROW5_Pin|ROW6_Pin|ROW7_Pin|ROW8_Pin, GPIO_PIN_RESET);

  /*Configure GPIO pin Output Level */
  HAL_GPIO_WritePin(USB_PowerSwitchOn_GPIO_Port, USB_PowerSwitchOn_Pin, GPIO_PIN_RESET);

  /*Configure GPIO pins : COL1_Pin COL2_Pin COL3_Pin COL4_Pin
                           COL5_Pin COL6_Pin COL7_Pin COL8_Pin */
  GPIO_InitStruct.Pin = COL1_Pin|COL2_Pin|COL3_Pin|COL4_Pin
                          |COL5_Pin|COL6_Pin|COL7_Pin|COL8_Pin;
  GPIO_InitStruct.Mode = GPIO_MODE_OUTPUT_PP;
  GPIO_InitStruct.Pull = GPIO_NOPULL;
  GPIO_InitStruct.Speed = GPIO_SPEED_FREQ_LOW;
  HAL_GPIO_Init(GPIOE, &GPIO_InitStruct);

  /*Configure GPIO pins : USER_Btn_Pin PHOTO0_Pin PHOTO1_Pin PHOTO2_Pin
                           PHOTO3_Pin */
  GPIO_InitStruct.Pin = USER_Btn_Pin|PHOTO0_Pin|PHOTO1_Pin|PHOTO2_Pin
                          |PHOTO3_Pin;
  GPIO_InitStruct.Mode = GPIO_MODE_IT_RISING;
  GPIO_InitStruct.Pull = GPIO_NOPULL;
  HAL_GPIO_Init(GPIOC, &GPIO_InitStruct);

  /*Configure GPIO pin : DHT11_Pin */
  GPIO_InitStruct.Pin = DHT11_Pin;
  GPIO_InitStruct.Mode = GPIO_MODE_OUTPUT_PP;
  GPIO_InitStruct.Pull = GPIO_NOPULL;
  GPIO_InitStruct.Speed = GPIO_SPEED_FREQ_LOW;
  HAL_GPIO_Init(DHT11_GPIO_Port, &GPIO_InitStruct);

  /*Configure GPIO pins : LD1_Pin LD3_Pin LD2_Pin */
  GPIO_InitStruct.Pin = LD1_Pin|LD3_Pin|LD2_Pin;
  GPIO_InitStruct.Mode = GPIO_MODE_OUTPUT_PP;
  GPIO_InitStruct.Pull = GPIO_NOPULL;
  GPIO_InitStruct.Speed = GPIO_SPEED_FREQ_LOW;
  HAL_GPIO_Init(GPIOB, &GPIO_InitStruct);

  /*Configure GPIO pin : ULTRASONIC_TRIGGER_Pin */
  GPIO_InitStruct.Pin = ULTRASONIC_TRIGGER_Pin;
  GPIO_InitStruct.Mode = GPIO_MODE_OUTPUT_PP;
  GPIO_InitStruct.Pull = GPIO_NOPULL;
  GPIO_InitStruct.Speed = GPIO_SPEED_FREQ_LOW;
  HAL_GPIO_Init(ULTRASONIC_TRIGGER_GPIO_Port, &GPIO_InitStruct);

  /*Configure GPIO pins : BUTTON3_Pin BUTTON2_Pin BUTTON1_Pin BUTTON0_Pin */
  GPIO_InitStruct.Pin = BUTTON3_Pin|BUTTON2_Pin|BUTTON1_Pin|BUTTON0_Pin;
  GPIO_InitStruct.Mode = GPIO_MODE_INPUT;
  GPIO_InitStruct.Pull = GPIO_NOPULL;
  HAL_GPIO_Init(GPIOE, &GPIO_InitStruct);

  /*Configure GPIO pins : IN1_Pin IN2_Pin IN3_Pin IN4_Pin
                           ROW1_Pin ROW2_Pin ROW3_Pin ROW4_Pin
                           ROW5_Pin ROW6_Pin ROW7_Pin ROW8_Pin */
  GPIO_InitStruct.Pin = IN1_Pin|IN2_Pin|IN3_Pin|IN4_Pin
                          |ROW1_Pin|ROW2_Pin|ROW3_Pin|ROW4_Pin
                          |ROW5_Pin|ROW6_Pin|ROW7_Pin|ROW8_Pin;
  GPIO_InitStruct.Mode = GPIO_MODE_OUTPUT_PP;
  GPIO_InitStruct.Pull = GPIO_NOPULL;
  GPIO_InitStruct.Speed = GPIO_SPEED_FREQ_LOW;
  HAL_GPIO_Init(GPIOD, &GPIO_InitStruct);

  /*Configure GPIO pin : USB_PowerSwitchOn_Pin */
  GPIO_InitStruct.Pin = USB_PowerSwitchOn_Pin;
  GPIO_InitStruct.Mode = GPIO_MODE_OUTPUT_PP;
  GPIO_InitStruct.Pull = GPIO_NOPULL;
  GPIO_InitStruct.Speed = GPIO_SPEED_FREQ_LOW;
  HAL_GPIO_Init(USB_PowerSwitchOn_GPIO_Port, &GPIO_InitStruct);

  /*Configure GPIO pin : USB_OverCurrent_Pin */
  GPIO_InitStruct.Pin = USB_OverCurrent_Pin;
  GPIO_InitStruct.Mode = GPIO_MODE_INPUT;
  GPIO_InitStruct.Pull = GPIO_NOPULL;
  HAL_GPIO_Init(USB_OverCurrent_GPIO_Port, &GPIO_InitStruct);

  /* EXTI interrupt init*/
  HAL_NVIC_SetPriority(EXTI0_IRQn, 5, 0);
  HAL_NVIC_EnableIRQ(EXTI0_IRQn);

  HAL_NVIC_SetPriority(EXTI2_IRQn, 5, 0);
  HAL_NVIC_EnableIRQ(EXTI2_IRQn);

  HAL_NVIC_SetPriority(EXTI3_IRQn, 5, 0);
  HAL_NVIC_EnableIRQ(EXTI3_IRQn);

}

void StartDefaultTask(void *argument)
{
  for(;;)
  {
    osDelay(1);
  }
}

void Task1_func(void *argument)
{
  /* USER CODE BEGIN Task1_func */
  /* Infinite loop */
  for(;;)
  {
	dotmatrix_main_test();
    osDelay(1);
  }
  /* USER CODE END Task1_func */
}

void Task2_func(void *argument)
{
  /* USER CODE BEGIN Task2_func */
  /* Infinite loop */
  for(;;)
  {
	stepmotor_main_test();
    osDelay(1);
  }
  /* USER CODE END Task2_func */
}

void Task3_func(void *argument)
{
  /* USER CODE BEGIN Task3_func */
  /* Infinite loop */
  for(;;)
  {
	pc_command_processing();
	bt_command_processing();
    osDelay(1);
  }
  /* USER CODE END Task3_func */
}

void HAL_TIM_PeriodElapsedCallback(TIM_HandleTypeDef *htim)
{
  if (htim->Instance == TIM6) {
    HAL_IncTick();
  }
  /* USER CODE BEGIN Callback 1 */
  if (htim->Instance == TIM10) {
  		TIM10_10ms_counter++;  // 10ms timer counter
  		TIM10_10ms_ultrasonic++;  // ultrasonic trigger timer
  }
  /* USER CODE END Callback 1 */
}

void Error_Handler(void)
{
  __disable_irq();
  while (1)
  {
  }
}
